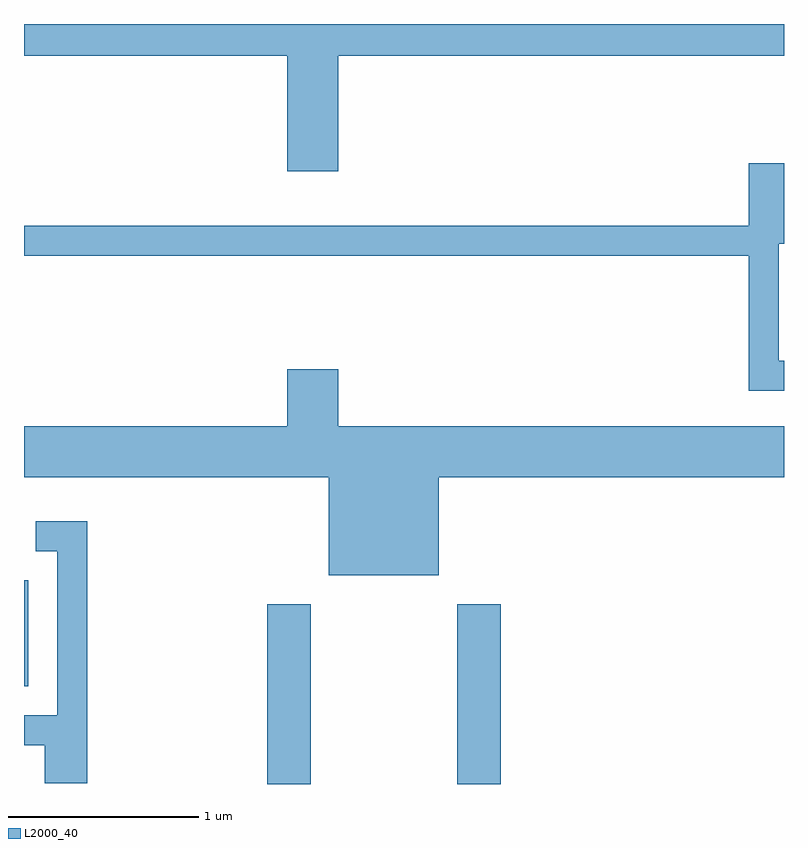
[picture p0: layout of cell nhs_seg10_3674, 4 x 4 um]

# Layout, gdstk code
import gdstk
lib = gdstk.Library(unit=1e-6, precision=1e-09)
def R(c, l, rs):  # rectangles x0, y0, x1, y1
    for r in rs: c.add(gdstk.rectangle(r[:2], r[2:], *l))
def P(c, l, *ps):  # polygons
    for p in ps: c.add(gdstk.Polygon(p, *l))
L2000_40 = (2000, 40)

nhs_seg10_3674 = lib.new_cell('nhs_seg10_3674')
R(nhs_seg10_3674, L2000_40, [(294.891,2114.522,295.119,2115.469), (295.891,2114.522,296.119,2115.469), (293.611,2115.036,293.634,2115.594)])
P(nhs_seg10_3674, L2000_40, [(295.264,2118.356),(297.611,2118.356),(297.611,2118.522),(293.611,2118.522),(293.611,2118.356),(294.996,2118.356),(294.996,2117.746),(295.264,2117.746)],
  [(297.611,2116.749),(297.584,2116.749),(297.584,2117.366),(297.611,2117.366),(297.611,2117.789),(297.426,2117.789),(297.426,2117.459),(293.611,2117.459),(293.611,2117.301),(297.426,2117.301),(297.426,2116.591),(297.611,2116.591)],
  [(295.794,2116.136),(297.611,2116.136),(297.611,2116.404),(295.264,2116.404),(295.264,2116.704),(294.996,2116.704),(294.996,2116.404),(293.611,2116.404),(293.611,2116.136),(295.216,2116.136),(295.216,2115.621),(295.794,2115.621)],
  [(293.944,2115.904),(293.673,2115.904),(293.673,2115.746),(293.786,2115.746),(293.786,2114.884),(293.611,2114.884),(293.611,2114.726),(293.721,2114.726),(293.721,2114.526),(293.944,2114.526)])

lib.write_gds('nhs_seg10_3674.gds')
